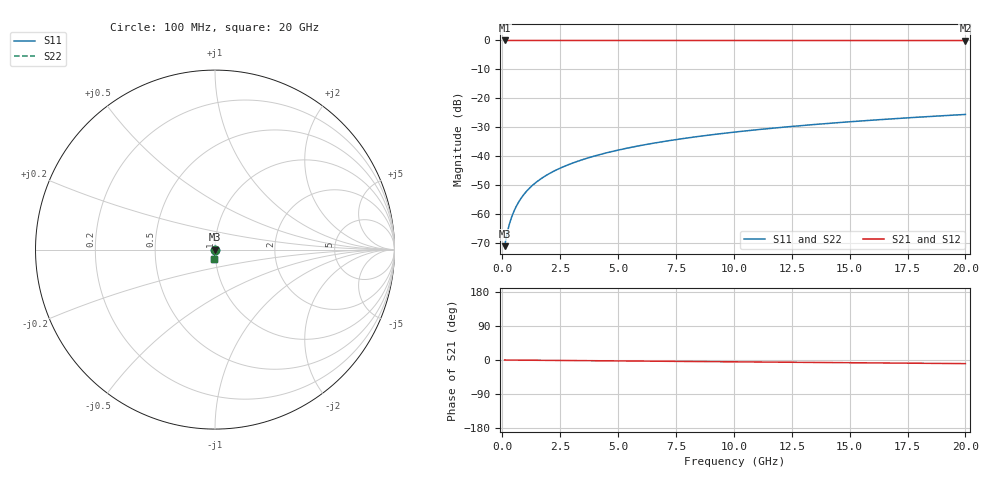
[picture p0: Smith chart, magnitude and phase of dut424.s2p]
! Touchstone file exported from HFSS 2026.1.0
!  File:  C:/ffzhzh/LocalFiles/Ansys_Project_Files/temp_train_TSV_424_1783020959_53980.aedt
!  Generated:  03:37:39 AM Jul  3, 2026
!  Design:  TSV
!  Project:  temp_train_TSV_424_1783020959_53980
! Variables:
!  h_bsmrdl = 2um
!  h_ox = 20um
!  h_rdl = 5um
!  h_sub = 98.22um
!  h_tmrdl = 5um
!  h_tsv = 98.22um
!  h_via = 3um
!  l_bsmrdl = 300um
!  l_sub = 417.42um
!  l_tmrdl = 200um
!  m_sub = 200um
!  pitch = 26.37um
!  r_tsv = 8.71um
!  s_tmrdl = 10um
!  w_bsmrdl = 18um
!  w_sub = 500um
!  w_tmrdl = 12um
!  x_tsv_center1 = 206um
!  x_tsv_center2 = 524um
!  x_tsv_center3 = 736um
!  x_tsv_center4 = 1054um
!  x_tsv_center5 = 1266um
!  x_tsv_center6 = 1584um
# GHz S MA R 50.000000
! Terminal data exported
! Port[1] = TSV1_1_T1
! Port[2] = TSV1_1_T2
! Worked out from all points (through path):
!   200 points, 100 MHz to 20 GHz, reference 50 ohm
!   highest |S21| = 0.00 dB at 100 MHz (marker M1); lowest = 0.0 dB at 20 GHz (marker M2)
!   group delay of S21, straight-line fit = 1.32 ps
!   lowest |S11| = -71.0 dB at 100 MHz (marker M3), VSWR 1.00, Z = 50 - j0.0199 ohm
!   |S11| at or under -10 dB: start of sweep to end of sweep
!   |S22| runs from -71.0 to -25.5 dB; largest |S21 - S12| = 6.5e-15
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0.1  0.0002815 -44.9  0.9998 -0.1  0.9998 -0.1  0.0002815 -44.9
! Gamma 0 0 0 0
! Port Impedance 50 0 50 0
0.2  0.0004589 -61.5  0.9998 -0.1  0.9998 -0.1  0.0004589 -61.5
0.3  0.0006645 -68.1  0.9998 -0.2  0.9998 -0.2  0.0006645 -68.1
0.4  0.0008863 -71.4  0.9997 -0.2  0.9997 -0.2  0.0008863 -71.4
0.5  0.00112 -73.5  0.9997 -0.3  0.9997 -0.3  0.00112 -73.5
0.6  0.001361 -75.1  0.9996 -0.3  0.9996 -0.3  0.001361 -75.1
0.8  0.001861 -77.3  0.9996 -0.4  0.9996 -0.4  0.001861 -77.3
1.1  0.00263 -79.7  0.9995 -0.5  0.9995 -0.5  0.00263 -79.7
1.3  0.003146 -80.9  0.9995 -0.6  0.9995 -0.6  0.003146 -80.9
1.5  0.003664 -81.9  0.9994 -0.7  0.9994 -0.7  0.003664 -81.9
1.8  0.004441 -83.1  0.9994 -0.9  0.9994 -0.9  0.004441 -83.1
2.1  0.005218 -84.0  0.9993 -1.0  0.9993 -1.0  0.005218 -84.0
2.7  0.006775 -85.3  0.9993 -1.3  0.9993 -1.3  0.006775 -85.3
3.5  0.00886 -86.5  0.9992 -1.7  0.9992 -1.7  0.00886 -86.5
4.2  0.0107 -87.3  0.9991 -2.0  0.9991 -2.0  0.0107 -87.3
5  0.0128 -88.1  0.999 -2.4  0.999 -2.4  0.0128 -88.1
6.8  0.01758 -89.6  0.9987 -3.3  0.9987 -3.3  0.01758 -89.6
8.3  0.02158 -90.6  0.9985 -4.0  0.9985 -4.0  0.02158 -90.6
10.1  0.02639 -91.8  0.9983 -4.8  0.9983 -4.8  0.02639 -91.8
13.4  0.03521 -93.8  0.9978 -6.4  0.9978 -6.4  0.03521 -93.8
16.7  0.04402 -95.6  0.9972 -8.0  0.9972 -8.0  0.04402 -95.6
20  0.05283 -97.4  0.9966 -9.5  0.9966 -9.5  0.05283 -97.4
